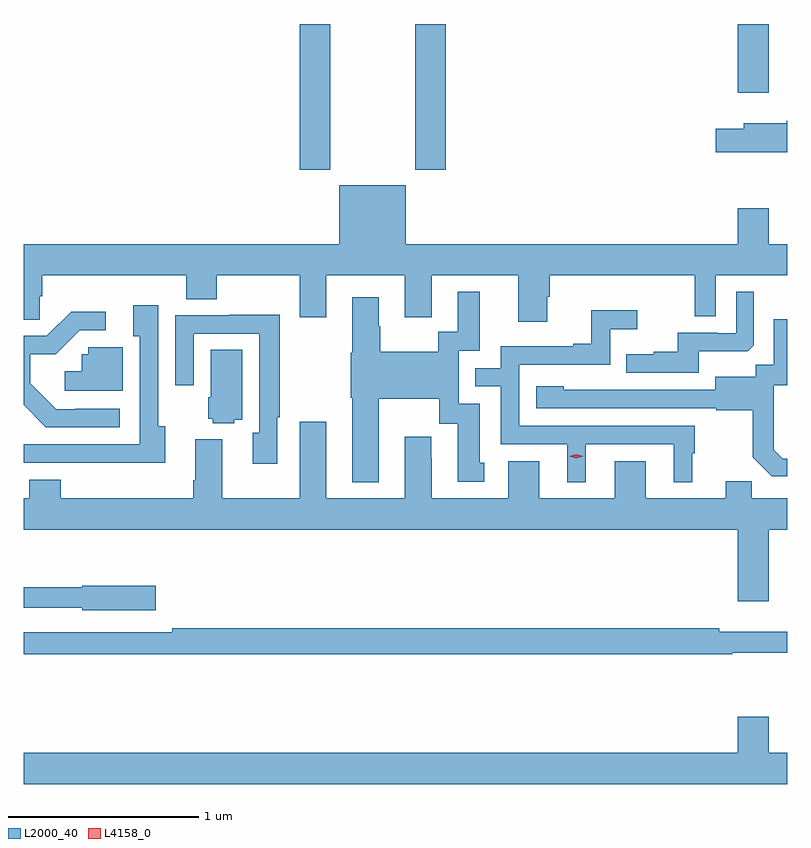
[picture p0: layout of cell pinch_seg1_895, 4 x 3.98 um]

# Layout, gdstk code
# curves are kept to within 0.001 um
import gdstk
lib = gdstk.Library(unit=1e-6, precision=1e-09)
def R(c, l, rs):  # rectangles x0, y0, x1, y1
    for r in rs: c.add(gdstk.rectangle(r[:2], r[2:], *l))
def P(c, l, *ps):  # polygons
    for p in ps: c.add(gdstk.Polygon(p, *l))
L2000_40 = (2000, 40)
L4158_0 = (4158, 0)

pinch_seg1_895 = lib.new_cell('pinch_seg1_895')
R(pinch_seg1_895, L2000_40, [(318.557,582.921,318.717,583.685), (319.162,582.921,319.322,583.685), (320.852,583.326,321.016,583.685)])
P(pinch_seg1_895, L2000_40, [(321.112,583.178),(321.11,583.178),(321.11,583.165),(320.885,583.165),(320.885,583.135),(320.736,583.135),(320.736,583.013),(321.112,583.013)],
  [(319.855,582.255),(319.868,582.255),(319.868,582.368),(320.628,582.368),(320.628,582.154),(320.736,582.154),(320.736,582.368),(321.112,582.368),(321.112,582.532),(321.016,582.532),(321.016,582.721),(320.852,582.721),(320.852,582.532),(319.114,582.532),(319.114,582.841),(318.764,582.841),(318.764,582.532),(317.112,582.532),(317.112,582.136),(317.195,582.136),(317.195,582.258),(317.21,582.258),(317.21,582.368),(317.963,582.368),(317.963,582.244),(318.123,582.244),(318.123,582.368),(318.557,582.368),(318.557,582.15),(318.697,582.15),(318.697,582.368),(319.109,582.368),(319.109,582.15),(319.249,582.15),(319.249,582.368),(319.703,582.368),(319.703,582.126),(319.855,582.126)],
  [(318.973,581.723),(319.289,581.723),(319.289,581.592),(319.385,581.592),(319.385,581.286),(319.525,581.286),(319.525,581.388),(319.501,581.388),(319.501,581.697),(319.392,581.697),(319.392,581.973),(319.501,581.973),(319.501,582.283),(319.385,582.283),(319.385,582.074),(319.284,582.074),(319.284,581.968),(318.981,581.968),(318.981,582.102),(318.973,582.102),(318.973,582.253),(318.833,582.253),(318.833,581.964),(318.826,581.964),(318.826,581.727),(318.833,581.727),(318.833,581.285),(318.973,581.285)],
  [(320.647,581.972),(320.905,581.972),(320.937,582.003),(320.937,582.283),(320.844,582.283),(320.844,582.066),(320.744,582.066),(320.744,582.069),(320.537,582.069),(320.537,581.968),(320.413,581.968),(320.413,581.956),(320.269,581.956),(320.269,581.859),(320.647,581.859)],
  [(317.854,581.578),(317.817,581.578),(317.817,582.211),(317.687,582.211),(317.687,582.05),(317.721,582.05),(317.721,581.484),(317.112,581.484),(317.112,581.388),(317.389,581.388),(317.389,581.387),(317.854,581.387)],
  [(320.056,581.484),(320.516,581.484),(320.516,581.285),(320.614,581.285),(320.614,581.436),(320.626,581.436),(320.626,581.58),(319.707,581.58),(319.707,581.901),(320.184,581.901),(320.184,582.086),(320.326,582.086),(320.326,582.185),(320.086,582.185),(320.086,582.01),(319.991,582.01),(319.991,581.997),(319.611,581.997),(319.611,581.883),(319.477,581.883),(319.477,581.787),(319.611,581.787),(319.611,581.484),(319.958,581.484),(319.958,581.285),(320.056,581.285)],
  [(317.614,581.67),(317.383,581.67),(317.383,581.667),(317.283,581.667),(317.146,581.804),(317.146,581.954),(317.279,581.954),(317.406,582.081),(317.542,582.081),(317.542,582.179),(317.36,582.179),(317.232,582.051),(317.112,582.051),(317.112,581.69),(317.228,581.574),(317.614,581.574)],
  [(318.441,581.626),(318.454,581.626),(318.454,582.163),(318.191,582.163),(318.191,582.159),(317.907,582.159),(317.907,581.793),(318.003,581.793),(318.003,582.063),(318.345,582.063),(318.345,581.543),(318.311,581.543),(318.311,581.382),(318.441,581.382)],
  [(321.112,581.409),(321.087,581.409),(321.04,581.456),(321.04,581.551),(321.042,581.551),(321.042,581.792),(321.112,581.792),(321.112,582.139),(321.041,582.139),(321.041,581.9),(320.946,581.9),(320.946,581.836),(320.735,581.836),(320.735,581.769),(319.941,581.77),(319.941,581.788),(319.797,581.788),(319.797,581.673),(320.739,581.673),(320.739,581.661),(320.931,581.661),(320.931,581.415),(321.031,581.315),(321.112,581.315)],
  [(317.632,581.991),(317.451,581.991),(317.451,581.955),(317.415,581.955),(317.415,581.866),(317.328,581.866),(317.328,581.763),(317.632,581.763)],
  [(318.216,581.612),(318.256,581.612),(318.256,581.978),(318.092,581.978),(318.092,581.73),(318.08,581.73),(318.08,581.616),(318.102,581.616),(318.102,581.594),(318.216,581.594)],
  [(321.016,581.036),(321.112,581.036),(321.112,581.2),(320.927,581.2),(320.927,581.291),(320.789,581.291),(320.789,581.2),(320.371,581.2),(320.371,581.395),(320.207,581.395),(320.207,581.2),(319.813,581.2),(319.813,581.395),(319.649,581.395),(319.649,581.2),(319.249,581.2),(319.249,581.411),(319.246,581.411),(319.246,581.524),(319.109,581.524),(319.109,581.2),(318.697,581.2),(318.697,581.602),(318.557,581.602),(318.557,581.2),(318.151,581.2),(318.151,581.509),(318.011,581.509),(318.011,581.296),(317.999,581.296),(317.999,581.2),(317.306,581.2),(317.306,581.299),(317.141,581.299),(317.141,581.2),(317.112,581.2),(317.112,581.036),(320.852,581.036),(320.852,580.662),(321.016,580.662)],
  [(317.803,580.743),(317.418,580.743),(317.418,580.735),(317.112,580.735),(317.112,580.626),(317.418,580.626),(317.418,580.613),(317.803,580.613)],
  [(320.824,580.392),(321.112,580.392),(321.112,580.501),(320.756,580.501),(320.756,580.52),(317.89,580.52),(317.89,580.5),(317.112,580.5),(317.112,580.384),(320.824,580.384)],
  [(321.112,579.868),(321.016,579.868),(321.016,580.057),(320.852,580.057),(320.852,579.868),(317.112,579.868),(317.112,579.704),(321.112,579.704)])
P(pinch_seg1_895, L4158_0, [(320.007,581.41),(319.971,581.42),(319.971,581.42),(319.971,581.421),(320.007,581.43),(320.042,581.421),(320.043,581.42),(320.042,581.42)])

lib.write_gds('pinch_seg1_895.gds')
